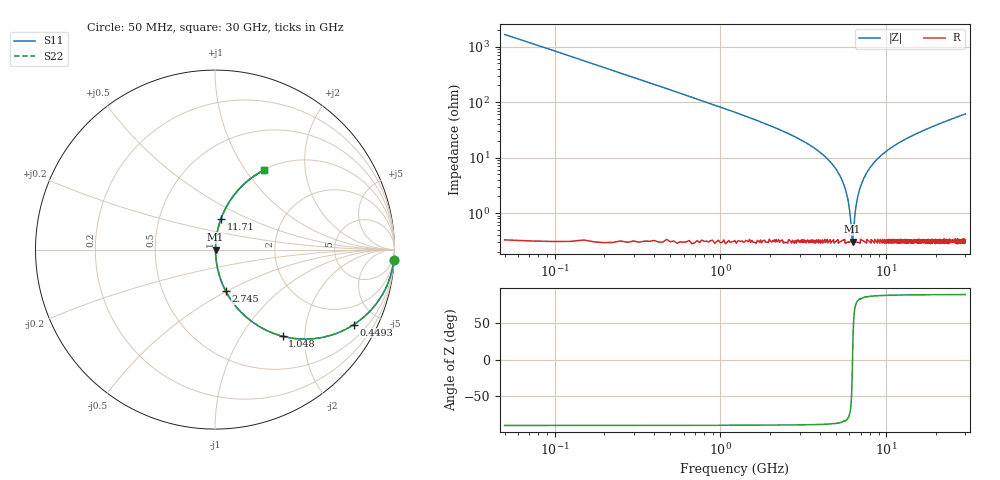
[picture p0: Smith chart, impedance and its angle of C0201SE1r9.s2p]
!	AVX Thin Film Operation 	Date: April 2014
!	Description: Accu-P® Series, Thin Film  SMD RF Capacitor
!	Part Number: 02013J1R9PBSTR
# MHZ S MA R 50
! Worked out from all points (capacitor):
!   1201 points, 50 MHz to 30 GHz, reference 50 ohm
!   read as one part in series: C = 1.9 pF near 199.8 MHz
!   lowest |Z| = 306 mohm at 6.265 GHz (marker M1)
!   series resonance near 6.259 GHz, so ESL is about 340 pH
!   S11 on the Smith chart (normalised r, x): 50 MHz: 1, -33; 449.3 MHz: 1.00, -3.71; 1.048 GHz: 1.01, -1.55; 2.745 GHz: 1.01, -0.49; 11.71 GHz: 1.01, +0.36; 30 GHz: 1.01, +1.23
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50  0.998 -3.4  0.06 86.6  0.06 86.6  0.998 -3.4
274.625  0.95 -18.2  0.312 71.8  0.312 71.8  0.95 -18.2
449.333  0.88 -28.3  0.474 61.6  0.474 61.6  0.88 -28.3
1048.333  0.612 -52.0  0.788 37.7  0.788 37.7  0.612 -52.0
1722.208  0.409 -65.5  0.91 24.1  0.91 24.1  0.409 -65.5
2745.5  0.239 -75.5  0.968 13.8  0.968 13.8  0.239 -75.5
5041.667  0.058 -83.6  0.995 3.3  0.995 3.3  0.058 -83.6
5740.5  0.023 -81.1  0.997 1.3  0.997 1.3  0.023 -81.1
5965.125  0.013 -75.7  0.997 0.7  0.997 0.7  0.013 -75.7
6164.792  0.005101 -52.5  0.997 0.2  0.997 0.2  0.005101 -52.5
6264.625  0.003099 4.2  0.997 -0.0  0.997 -0.0  0.003099 4.2
6364.458  0.005416 55.0  0.997 -0.3  0.997 -0.3  0.005416 55.0
6564.125  0.013 75.6  0.997 -0.7  0.997 -0.7  0.013 75.6
6738.833  0.02 80.0  0.997 -1.1  0.997 -1.1  0.02 80.0
7337.833  0.043 83.4  0.996 -2.4  0.996 -2.4  0.043 83.4
8411.042  0.08 83.2  0.994 -4.6  0.994 -4.6  0.08 83.2
10058.29  0.13 81.2  0.988 -7.5  0.988 -7.5  0.13 81.2
11705.54  0.175 78.9  0.981 -10.1  0.981 -10.1  0.175 78.9
15025  0.256 74.5  0.964 -14.8  0.964 -14.8  0.256 74.5
20016.67  0.359 68.5  0.93 -21.1  0.93 -21.1  0.359 68.5
25033.29  0.447 63.1  0.892 -26.6  0.892 -26.6  0.447 63.1
30000  0.522 58.3  0.85 -31.4  0.85 -31.4  0.522 58.3
